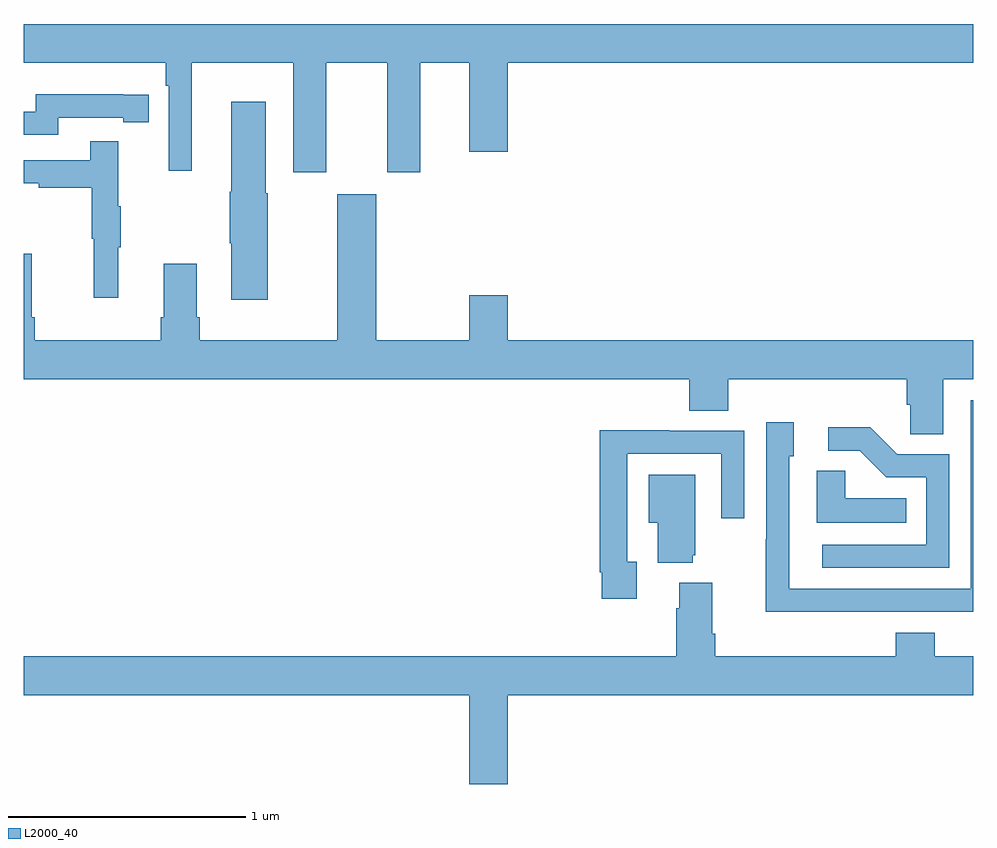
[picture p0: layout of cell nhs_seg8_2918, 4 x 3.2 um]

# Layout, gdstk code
import gdstk
lib = gdstk.Library(unit=1e-6, precision=1e-09)
def P(c, l, *ps):  # polygons
    for p in ps: c.add(gdstk.Polygon(p, *l))
L2000_40 = (2000, 40)

nhs_seg8_2918 = lib.new_cell('nhs_seg8_2918')
P(nhs_seg8_2918, L2000_40, [(296.275,1087.196),(296.531,1087.196),(296.531,1086.735),(296.671,1086.735),(296.671,1087.196),(296.876,1087.196),(296.876,1086.822),(297.04,1086.822),(297.04,1087.196),(299,1087.196),(299,1087.36),(295,1087.36),(295,1087.196),(295.598,1087.196),(295.598,1087.1),(295.611,1087.1),(295.611,1086.741),(295.708,1086.741),(295.708,1087.196),(296.135,1087.196),(296.135,1086.735),(296.275,1086.735)],
  [(295.146,1086.966),(295.418,1086.966),(295.418,1086.946),(295.526,1086.946),(295.526,1087.062),(295.418,1087.062),(295.418,1087.063),(295.05,1087.063),(295.05,1086.99),(295,1086.99),(295,1086.894),(295.146,1086.894)],
  [(296.028,1086.647),(296.02,1086.647),(296.02,1087.033),(295.874,1087.033),(295.874,1086.653),(295.867,1086.653),(295.867,1086.436),(295.874,1086.436),(295.874,1086.198),(296.028,1086.198)],
  [(295.397,1086.419),(295.408,1086.419),(295.408,1086.593),(295.397,1086.593),(295.397,1086.865),(295.279,1086.865),(295.279,1086.786),(295,1086.786),(295,1086.69),(295.063,1086.69),(295.063,1086.67),(295.287,1086.67),(295.287,1086.456),(295.294,1086.456),(295.294,1086.207),(295.397,1086.207)],
  [(298.873,1085.864),(299,1085.864),(299,1086.028),(297.04,1086.028),(297.04,1086.217),(296.876,1086.217),(296.876,1086.028),(296.485,1086.028),(296.485,1086.643),(296.321,1086.643),(296.321,1086.028),(295.742,1086.028),(295.742,1086.124),(295.729,1086.124),(295.729,1086.349),(295.589,1086.349),(295.589,1086.124),(295.577,1086.124),(295.577,1086.028),(295.046,1086.028),(295.046,1086.124),(295.033,1086.124),(295.033,1086.391),(295,1086.391),(295,1085.864),(297.803,1085.864),(297.803,1085.731),(297.968,1085.731),(297.968,1085.864),(298.721,1085.864),(298.721,1085.755),(298.734,1085.755),(298.734,1085.632),(298.873,1085.632)],
  [(298.589,1084.884),(299,1084.884),(299,1085.775),(298.989,1085.775),(298.989,1084.98),(298.224,1084.98),(298.224,1085.538),(298.243,1085.538),(298.243,1085.683),(298.128,1085.683),(298.128,1085.189),(298.126,1085.189),(298.126,1084.883),(298.589,1084.883)],
  [(298.899,1085.547),(298.68,1085.547),(298.567,1085.66),(298.389,1085.66),(298.389,1085.562),(298.523,1085.562),(298.634,1085.451),(298.803,1085.451),(298.803,1085.166),(298.365,1085.166),(298.365,1085.07),(298.899,1085.07)],
  [(297.583,1085.094),(297.543,1085.094),(297.543,1085.55),(297.939,1085.55),(297.939,1085.277),(298.035,1085.277),(298.035,1085.646),(297.719,1085.646),(297.719,1085.648),(297.427,1085.648),(297.427,1085.05),(297.435,1085.05),(297.435,1084.938),(297.583,1084.938)],
  [(298.718,1085.362),(298.461,1085.362),(298.461,1085.477),(298.34,1085.477),(298.34,1085.258),(298.718,1085.258)],
  [(297.818,1085.121),(297.829,1085.121),(297.829,1085.461),(297.632,1085.461),(297.632,1085.258),(297.671,1085.258),(297.671,1085.09),(297.818,1085.09)],
  [(297.04,1084.532),(299,1084.532),(299,1084.696),(298.838,1084.696),(298.838,1084.795),(298.673,1084.795),(298.673,1084.696),(297.914,1084.696),(297.914,1084.792),(297.901,1084.792),(297.901,1085.005),(297.761,1085.005),(297.761,1084.898),(297.749,1084.898),(297.749,1084.696),(295,1084.696),(295,1084.532),(296.876,1084.532),(296.876,1084.158),(297.04,1084.158)])

lib.write_gds('nhs_seg8_2918.gds')
